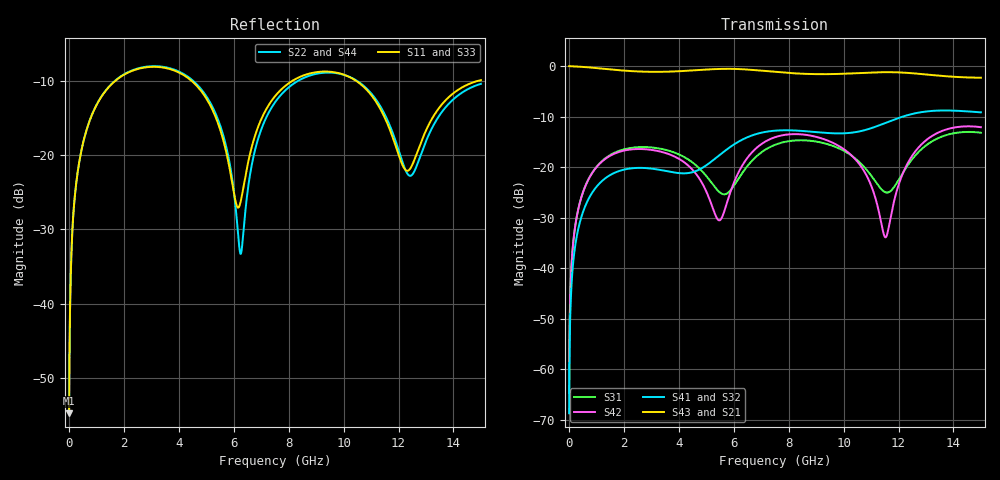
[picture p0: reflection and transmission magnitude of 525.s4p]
! Created with skrf 1.8.0 (http://scikit-rf.org).
# GHz S RI R 50.0
!freq ReS11 ImS11 ReS12 ImS12 ReS13 ImS13
! ReS14 ImS14
! ReS21 ImS21 ReS22 ImS22 ReS23 ImS23
! ReS24 ImS24
! ReS31 ImS31 ReS32 ImS32 ReS33 ImS33
! ReS34 ImS34
! ReS41 ImS41 ReS42 ImS42 ReS43 ImS43
! ReS44 ImS44
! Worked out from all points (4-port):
!   2499 points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, 5 MHz to 15 GHz, reference 50 ohm
!   strongest paths, dB at 5 MHz, 3.476 GHz, 7.19 GHz, 11.1 GHz, 15 GHz:
!     S43: 0.0, -1.1, -1.0, -1.3, -2.3
!     S21: 0.0, -1.1, -1.0, -1.3, -2.3
!     S41: -68.7, -20.7, -13.0, -12.1, -9.1
!     S32: -68.7, -20.8, -13.0, -12.1, -9.3
!     S42: -64.7, -17.1, -14.8, -25.1, -12.1
!     S31: -64.7, -16.5, -16.4, -22.4, -13.2
!   lowest |S11| = -54.8 dB at 5 MHz (marker M1), VSWR 1.00, Z = 50.1 + j0.111 ohm
!   |S11| at or under -10 dB: start of sweep to 1.687 GHz; 4.463 GHz to 8.137 GHz (3.675 GHz wide, 58.3 % of centre); 10.46 GHz to 14.9 GHz (4.44 GHz wide, 35 % of centre)
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0.005  0.00145 0.0011  0.9985 -0.00283  7.24e-05 0.000575  -7.03e-05 -0.00036
       0.9985 -0.00283  0.00145 0.0011  -7.03e-05 -0.00036  7.22e-05 0.000575
       7.24e-05 0.000575  -7.03e-05 -0.00036  0.00145 0.0011  0.9985 -0.00283
       -7.03e-05 -0.00036  7.22e-05 0.000575  0.9985 -0.00283  0.00145 0.0011
0.3126303  0.0195 0.0733  0.9734 -0.1766  0.0091 0.0345  -0.00733 -0.0215
           0.9734 -0.1766  0.0196 0.0733  -0.00732 -0.0215  0.00847 0.0346
           0.0091 0.0345  -0.00732 -0.0215  0.0195 0.0733  0.9734 -0.1766
           -0.00733 -0.0215  0.00847 0.0346  0.9734 -0.1766  0.0196 0.0733
1.569404  0.2353 0.1898  0.6187 -0.686  0.119 0.064  -0.0838 -0.0173
          0.6187 -0.686  0.2382 0.1883  -0.0837 -0.0174  0.1097 0.0746
          0.119 0.064  -0.0837 -0.0174  0.2353 0.1897  0.6188 -0.686
          -0.0838 -0.0173  0.1097 0.0746  0.6188 -0.686  0.238 0.1883
5.989996  0.0458 -0.0354  -0.9246 -0.1601  -0.0507 0.0401  -0.025 0.1646
          -0.9246 -0.1601  0.0246 -0.0545  -0.0284 0.1641  0.0336 0.0597
          -0.0507 0.0401  -0.0284 0.1641  0.0444 -0.0337  -0.9247 -0.1599
          -0.025 0.1646  0.0336 0.0597  -0.9247 -0.1599  0.025 -0.0529
9.64777  0.3576 -0.0524  0.0217 0.8342  0.1389 -0.0811  0.2032 -0.0738
         0.0217 0.8342  0.3559 -0.0381  0.2034 -0.0661  0.146 -0.0912
         0.1389 -0.0811  0.2034 -0.0661  0.3585 -0.0533  0.0203 0.8344
         0.2032 -0.0738  0.146 -0.0912  0.0203 0.8344  0.3544 -0.0357
11.5298  0.1243 -0.1212  0.7126 0.4997  -0.0515 -0.0229  0.1477 -0.2312
         0.7126 0.4997  0.1274 -0.1314  0.1575 -0.2246  -0.0199 -0.00346
         -0.0515 -0.0229  0.1575 -0.2246  0.1209 -0.1207  0.7119 0.5015
         0.1477 -0.2312  -0.0199 -0.00346  0.7119 0.5015  0.1286 -0.1281
15  0.3175 0.0383  0.3558 -0.6804  0.2188 -0.011  -0.3414 -0.0712
    0.3558 -0.6804  0.2981 0.0461  -0.3336 -0.0867  0.2449 -0.0426
    0.2188 -0.011  -0.3336 -0.0867  0.3237 0.0401  0.3598 -0.6778
    -0.3414 -0.0712  0.2449 -0.0426  0.3598 -0.6778  0.2939 0.0504
